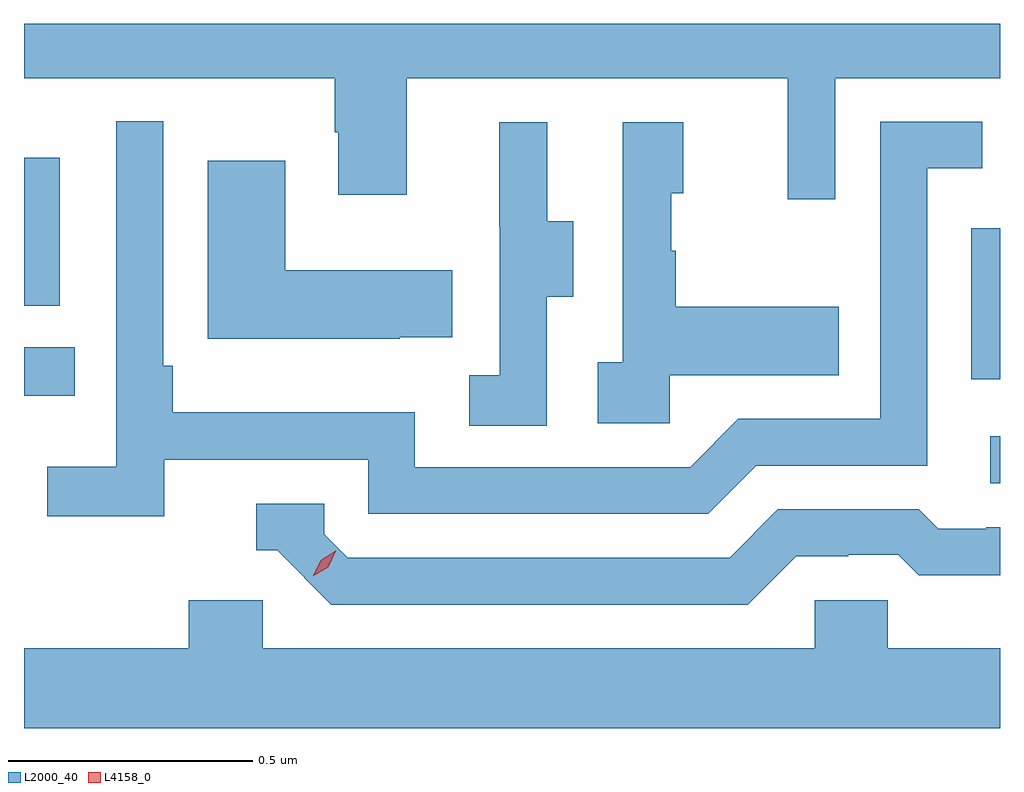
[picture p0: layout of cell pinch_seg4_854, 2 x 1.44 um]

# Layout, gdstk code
import gdstk
lib = gdstk.Library(unit=1e-6, precision=1e-09)
def R(c, l, rs):  # rectangles x0, y0, x1, y1
    for r in rs: c.add(gdstk.rectangle(r[:2], r[2:], *l))
def P(c, l, *ps):  # polygons
    for p in ps: c.add(gdstk.Polygon(p, *l))
L2000_40 = (2000, 40)
L4158_0 = (4158, 0)

pinch_seg4_854 = lib.new_cell('pinch_seg4_854')
R(pinch_seg4_854, L2000_40, [(889.779,805.314,889.799,805.41), (887.799,805.493,887.903,805.592), (889.74,805.527,889.799,805.836), (887.799,805.677,887.872,805.981)])
P(pinch_seg4_854, L2000_40, [(889.461,806.144),(889.799,806.144),(889.799,806.255),(887.799,806.255),(887.799,806.144),(888.436,806.144),(888.436,806.033),(888.443,806.033),(888.443,805.905),(888.583,805.905),(888.583,806.144),(889.364,806.144),(889.364,805.896),(889.461,805.896)],
  [(888.086,805.362),(888.504,805.362),(888.504,805.251),(889.201,805.251),(889.3,805.35),(889.65,805.35),(889.65,805.959),(889.763,805.959),(889.763,806.055),(889.554,806.055),(889.554,805.446),(889.263,805.446),(889.164,805.347),(888.6,805.347),(888.6,805.459),(888.104,805.459),(888.104,805.555),(888.084,805.555),(888.084,806.056),(887.988,806.056),(887.988,805.348),(887.847,805.348),(887.847,805.246),(888.086,805.246)],
  [(889.122,805.535),(889.469,805.535),(889.469,805.675),(889.135,805.675),(889.135,805.79),(889.125,805.79),(889.125,805.908),(889.15,805.908),(889.15,806.053),(889.026,806.053),(889.026,805.562),(888.975,805.562),(888.975,805.437),(889.122,805.437)],
  [(888.87,805.696),(888.925,805.696),(888.925,805.851),(888.871,805.851),(888.871,806.053),(888.773,806.053),(888.773,805.839),(888.774,805.839),(888.774,805.535),(888.711,805.535),(888.711,805.432),(888.87,805.432)],
  [(888.569,805.613),(888.677,805.613),(888.677,805.75),(888.334,805.75),(888.334,805.975),(888.176,805.975),(888.176,805.61),(888.569,805.61)],
  [(889.381,805.164),(889.488,805.164),(889.488,805.167),(889.591,805.167),(889.633,805.125),(889.799,805.125),(889.799,805.224),(889.771,805.224),(889.771,805.221),(889.672,805.221),(889.633,805.26),(889.344,805.26),(889.245,805.161),(888.462,805.161),(888.414,805.209),(888.414,805.272),(888.275,805.272),(888.275,805.176),(888.318,805.176),(888.429,805.065),(889.282,805.065)],
  [(889.799,804.976),(889.569,804.976),(889.569,805.074),(889.419,805.074),(889.419,804.976),(888.288,804.976),(888.288,805.074),(888.137,805.074),(888.137,804.976),(887.799,804.976),(887.799,804.812),(889.799,804.812)])
P(pinch_seg4_854, L4158_0, [(888.391,805.123),(888.391,805.123),(888.407,805.156),(888.438,805.175),(888.438,805.175),(888.438,805.174),(888.422,805.142),(888.391,805.123)])

lib.write_gds('pinch_seg4_854.gds')
